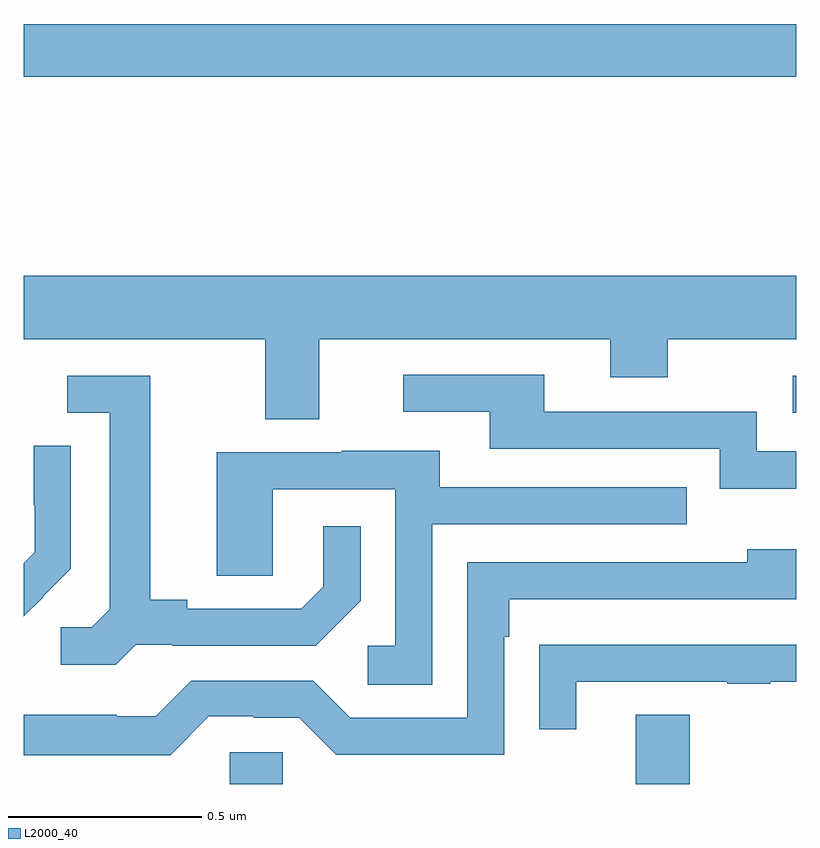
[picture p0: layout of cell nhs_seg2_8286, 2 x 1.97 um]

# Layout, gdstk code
import gdstk
lib = gdstk.Library(unit=1e-6, precision=1e-09)
def R(c, l, rs):  # rectangles x0, y0, x1, y1
    for r in rs: c.add(gdstk.rectangle(r[:2], r[2:], *l))
def P(c, l, *ps):  # polygons
    for p in ps: c.add(gdstk.Polygon(p, *l))
L2000_40 = (2000, 40)

nhs_seg2_8286 = lib.new_cell('nhs_seg2_8286')
R(nhs_seg2_8286, L2000_40, [(214.533,663.8,214.671,663.882), (215.585,663.8,215.725,663.979), (215.991,664.761,216,664.857), (214,665.632,216,665.768)])
P(nhs_seg2_8286, L2000_40, [(214.765,664.952),(215.519,664.952),(215.519,664.853),(215.667,664.853),(215.667,664.952),(216,664.952),(216,665.116),(214,665.116),(214,664.952),(214.625,664.952),(214.625,664.744),(214.765,664.744)],
  [(216,664.662),(215.898,664.662),(215.898,664.764),(215.347,664.764),(215.347,664.86),(214.983,664.86),(214.983,664.764),(215.207,664.764),(215.207,664.668),(215.802,664.668),(215.802,664.565),(216,664.565)],
  [(214.29,664.161),(214.384,664.161),(214.384,664.158),(214.756,664.158),(214.872,664.274),(214.872,664.468),(214.775,664.468),(214.775,664.311),(214.718,664.254),(214.423,664.254),(214.423,664.277),(214.327,664.277),(214.327,664.857),(214.113,664.857),(214.113,664.761),(214.223,664.761),(214.223,664.253),(214.176,664.206),(214.095,664.206),(214.095,664.109),(214.238,664.109)],
  [(214.05,664.284),(214.049,664.285),(214.122,664.358),(214.122,664.676),(214.026,664.676),(214.026,664.522),(214.028,664.522),(214.028,664.4),(214,664.372),(214,664.234)],
  [(215.058,664.473),(215.717,664.473),(215.717,664.569),(215.077,664.569),(215.077,664.663),(214.823,664.663),(214.823,664.659),(214.499,664.659),(214.499,664.339),(214.644,664.339),(214.644,664.563),(214.962,664.563),(214.962,664.158),(214.89,664.158),(214.89,664.057),(215.058,664.057)],
  [(214.479,663.975),(214.595,663.975),(214.595,663.972),(214.713,663.972),(214.809,663.876),(215.244,663.876),(215.244,664.181),(215.257,664.181),(215.257,664.278),(216,664.278),(216,664.408),(215.873,664.408),(215.873,664.374),(215.148,664.374),(215.148,663.972),(214.845,663.972),(214.749,664.068),(214.434,664.068),(214.341,663.975),(214.241,663.975),(214.241,663.979),(214,663.979),(214,663.875),(214.379,663.875)],
  [(215.431,664.065),(215.821,664.065),(215.821,664.06),(215.933,664.06),(215.933,664.065),(216,664.065),(216,664.161),(215.437,664.161),(215.437,664.16),(215.335,664.16),(215.335,663.942),(215.431,663.942)])

lib.write_gds('nhs_seg2_8286.gds')
